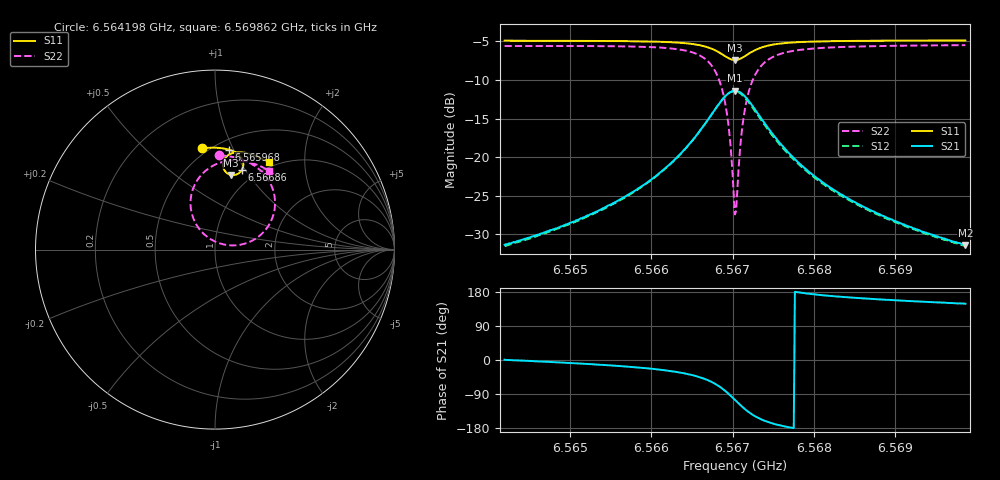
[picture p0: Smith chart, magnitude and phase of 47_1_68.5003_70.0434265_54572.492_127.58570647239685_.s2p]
#  HZ  S  RI  R  50.00
! Rohde & Schwarz Vector Network Analyzer
! Rohde-Schwarz,ZNB20-2Port,1311601062101988,3.16
! Created: UTC 3/20/2024, 5:05:49 PM
! freq[Hz]  re:S11  im:S11  re:S21  im:S21  re:S12  im:S12  re:S22  im:S22
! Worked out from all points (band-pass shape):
!   401 points, 6.564198 GHz to 6.569862 GHz, reference 50 ohm
!   highest |S21| = -11.39 dB at 6.56703 GHz (marker M1); lowest = -31.4 dB at 6.569862 GHz (marker M2)
!   |S21| within 3 dB of the highest: 6.566748 GHz to 6.567314 GHz (565.7 kHz wide, 0.00861 % of centre)
!   lowest |S11| = -7.4 dB at 6.56703 GHz (marker M3), VSWR 2.48, Z = 40.8 + j41.5 ohm
!   |S11| at or under -10 dB: nowhere
!   |S22| runs from -27.4 to -5.5 dB; largest |S21 - S12| = 0.012
!   S11 on the Smith chart (normalised r, x): 6.564198 GHz: 0.46, +0.77; 6.565968 GHz: 0.59, +0.96; 6.56686 GHz: 0.85, +0.97; 6.569862 GHz: 0.93, +1.34
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6.5641984e9  -0.075 0.564  0.0269 0.00039  0.0264 -0.000158  0.0242 0.5247
6.565147e9  0.00205 0.5679  0.0395 -0.00677  0.0389 -0.00721  0.112 0.5133
6.5659682e9  0.0769 0.5574  0.0642 -0.0264  0.0632 -0.0271  0.2133 0.4717
6.5660956e9  0.0901 0.553  0.0709 -0.0333  0.0696 -0.0341  0.2337 0.4575
6.566407e9  0.125 0.5345  0.0911 -0.0643  0.0895 -0.0656  0.2923 0.3965
6.5666194e9  0.1492 0.5071  0.1044 -0.1118  0.1021 -0.1138  0.3302 0.3047
6.566761e9  0.1579 0.4744  0.0979 -0.1688  0.0937 -0.1719  0.3259 0.196
6.5668601e9  0.1499 0.444  0.0665 -0.221  0.0597 -0.2237  0.271 0.0983
6.5669026e9  0.14 0.4313  0.0415 -0.2419  0.0328 -0.2437  0.2255 0.0601
6.566945e9  0.1259 0.4212  0.00872 -0.2577  -0.00158 -0.2577  0.1654 0.033
6.5669734e9  0.1144 0.4169  -0.0168 -0.2635  -0.0278 -0.262  0.1191 0.0241
6.5670158e9  0.0954 0.4153  -0.0579 -0.2627  -0.0688 -0.2583  0.0465 0.0292
6.56703e9  0.0888 0.4163  -0.0715 -0.2597  -0.0823 -0.2542  0.0228 0.0358
6.5670583e9  0.0766 0.4205  -0.0974 -0.2497  -0.1074 -0.2425  -0.0215 0.0562
6.5671008e9  0.0611 0.4314  -0.1306 -0.2265  -0.1384 -0.2173  -0.0762 0.1011
6.5671433e9  0.0504 0.4458  -0.1544 -0.197  -0.1595 -0.1867  -0.1127 0.1558
6.5671999e9  0.0442 0.4666  -0.1709 -0.1557  -0.173 -0.1454  -0.1348 0.2299
6.5672707e9  0.0465 0.49  -0.1737 -0.11  -0.1729 -0.1012  -0.1309 0.3095
6.5675255e9  0.0848 0.5328  -0.1317 -0.0243  -0.1288 -0.0206  -0.0351 0.4526
6.5679786e9  0.1457 0.5422  -0.0767 0.00821  -0.0749 0.00948  0.0923 0.497
6.5689272e9  0.2319 0.5199  -0.0371 0.0145  -0.0363 0.0149  0.2217 0.4772
6.5698616e9  0.3 0.4858  -0.0228 0.014  -0.0223 0.0141  0.3009 0.4393
